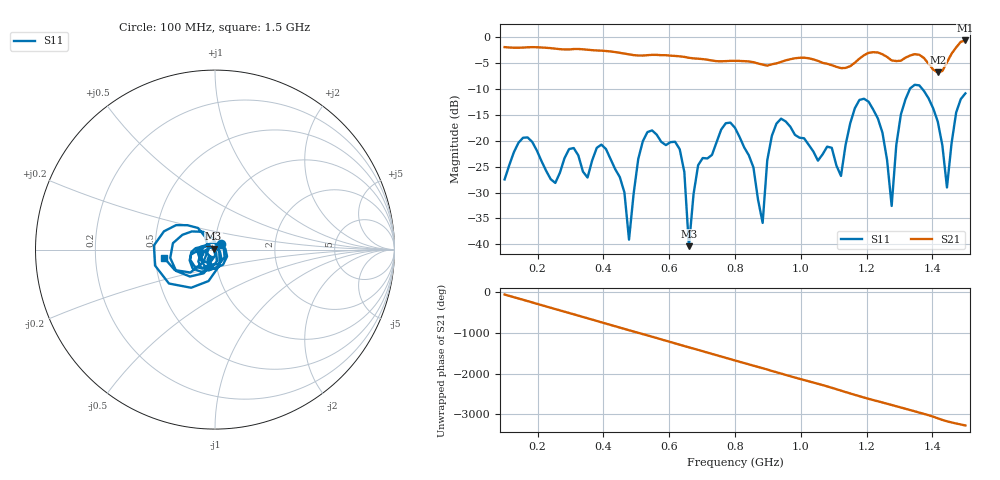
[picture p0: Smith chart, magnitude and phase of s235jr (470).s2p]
! NanoVNA-App
! Date: 2025-09-25 15:07:49
! Start: 100MHz Stop: 1,5GHz Points: 101
! S-Parameter data: F S11 S21 S12 S22
# Hz S RI R 50
!  Frequency  S11_Real  S11_Imag  S21_Real  S21_Imag  S12_Real  S12_Imag  S22_Real  S22_Imag
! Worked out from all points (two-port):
!   101 points, 100 MHz to 1.5 GHz, reference 50 ohm
!   highest |S21| = -0.68 dB at 1.5 GHz (marker M1); lowest = -6.8 dB at 1.416 GHz (marker M2)
!   |S21| within 3 dB of the highest: start of sweep to 621.2 MHz; 1.189 GHz to 1.257 GHz (68.51 MHz wide, 5.6 % of centre) (the widest 2 of 4)
!   lowest |S11| = -40.3 dB at 660 MHz (marker M3), VSWR 1.02, Z = 49.2 + j0.552 ohm
!   |S11| at or under -10 dB: start of sweep to 1.332 GHz; 1.369 GHz to end of sweep
!   S12 and S22 are empty: the file has one direction only
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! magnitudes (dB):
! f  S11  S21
! 100 MHz  -27.5  -2.0
! 156 MHz  -19.4  -2.1
! 338 MHz  -26.0  -2.4
! 408 MHz  -21.6  -2.7
! 478 MHz  -39.1  -3.4
! 520 MHz  -20.1  -3.6
! 576 MHz  -20.2  -3.5
! 632 MHz  -21.6  -3.7
! 660 MHz  -40.3  -4.0
! 688 MHz  -24.7  -4.2
! 800 MHz  -17.5  -4.6
! 884 MHz  -35.8  -5.3
! 926 MHz  -16.7  -5.1
! 1.038 GHz  -22.1  -4.3
! 1.122 GHz  -26.8  -6.0
! 1.206 GHz  -12.5  -3.1
! 1.276 GHz  -32.6  -4.5
! 1.304 GHz  -15.0  -4.6
! 1.332 GHz  -9.9  -3.6
! 1.416 GHz  -16.3  -6.8
! 1.444 GHz  -29.0  -4.9
! 1.5 GHz  -10.9  -0.7
